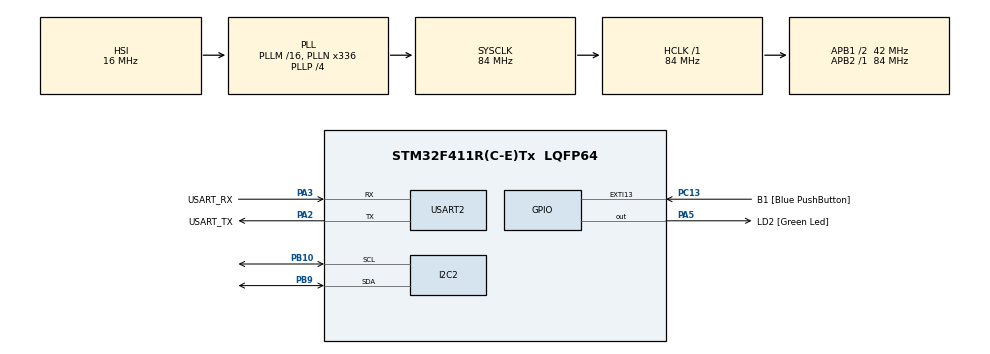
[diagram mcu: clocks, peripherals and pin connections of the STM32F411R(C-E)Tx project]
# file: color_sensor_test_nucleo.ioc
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Mcu.Family=STM32F4
Mcu.Name=STM32F411R(C-E)Tx
Mcu.Package=LQFP64
NVIC.PriorityGroup=NVIC_PRIORITYGROUP_0
PA13.GPIO_Label=TMS
PA13.Mode=Serial_Wire
PA13.Signal=SYS_JTMS-SWDIO
PA14.GPIO_Label=TCK
PA14.Mode=Serial_Wire
PA14.Signal=SYS_JTCK-SWCLK
PA2.GPIO_Label=USART_TX
PA2.Mode=Asynchronous
PA2.Signal=USART2_TX
PA3.GPIO_Label=USART_RX
PA3.Mode=Asynchronous
PA3.Signal=USART2_RX
PA5.GPIO_Label=LD2 [Green Led]
PA5.Signal=GPIO_Output
PB10.GPIO_Pu=GPIO_PULLUP
PB10.Mode=I2C
PB10.Signal=I2C2_SCL
PB3.GPIO_Label=SWO
PB3.Signal=SYS_JTDO-SWO
PB9.GPIO_Pu=GPIO_PULLUP
PB9.Mode=I2C
PB9.Signal=I2C2_SDA
PC13-ANTI_TAMP.GPIO_Label=B1 [Blue PushButton]
PC13-ANTI_TAMP.GPIO_ModeDefaultEXTI=GPIO_MODE_IT_FALLING
PC13-ANTI_TAMP.Signal=GPXTI13
PC14-OSC32_IN.Mode=LSE-External-Oscillator
PC14-OSC32_IN.Signal=RCC_OSC32_IN
PC15-OSC32_OUT.Mode=LSE-External-Oscillator
PC15-OSC32_OUT.Signal=RCC_OSC32_OUT
PH0\ -\ OSC_IN.Mode=HSE-External-Clock-Source
PH0\ -\ OSC_IN.Signal=RCC_OSC_IN
PH1\ -\ OSC_OUT.Mode=HSE-External-Clock-Source
PH1\ -\ OSC_OUT.Signal=RCC_OSC_OUT
ProjectManager.HeapSize=0x200
ProjectManager.StackSize=0x400
ProjectManager.TargetToolchain=STM32CubeIDE
RCC.48MHZClocksFreq_Value=84000000
RCC.AHBFreq_Value=84000000
RCC.APB1CLKDivider=RCC_HCLK_DIV2
RCC.APB1Freq_Value=42000000
RCC.APB1TimFreq_Value=84000000
RCC.APB2Freq_Value=84000000
RCC.APB2TimFreq_Value=84000000
RCC.CortexFreq_Value=84000000
RCC.FLatency-AdvancedSettings=FLASH_LATENCY_2
RCC.HCLKFreq_Value=84000000
RCC.HSE_VALUE=8000000
RCC.HSI_VALUE=16000000
RCC.PLLN=336
RCC.PLLP=RCC_PLLP_DIV4
RCC.SYSCLKFreq_VALUE=84000000
RCC.SYSCLKSource=RCC_SYSCLKSOURCE_PLLCLK
RCC.VCOOutputFreq_Value=336000000
USART2.VirtualMode=VM_ASYNC
board=NUCLEO-F411RE

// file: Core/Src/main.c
/* USER CODE BEGIN Header */
/**
  ******************************************************************************
  * @file           : main.c
  * @brief          : Main program body
  ******************************************************************************
  * @attention
  *
  * Copyright (c) 2022 STMicroelectronics.
  * All rights reserved.
  *
  * This software is licensed under terms that can be found in the LICENSE file
  * in the root directory of this software component.
  * If no LICENSE file comes with this software, it is provided AS-IS.
  *
  ******************************************************************************
  */
/* USER CODE END Header */
#include "main.h"

/* USER CODE BEGIN Includes */
#include <stdio.h>
#include "TCS34725.h"
#include <math.h>
/* USER CODE END Includes */

I2C_HandleTypeDef hi2c2;

UART_HandleTypeDef huart2;

void SystemClock_Config(void);
static void MX_GPIO_Init(void);
static void MX_USART2_UART_Init(void);
static void MX_I2C2_Init(void);

/* USER CODE BEGIN 0 */
int __io_putchar(int ch)
{
  if (ch == '\n') {
    __io_putchar('\r');
  }

  HAL_UART_Transmit(&huart2, (uint8_t*)&ch, 1, HAL_MAX_DELAY);

  return 1;
}

/* USER CODE END 0 */

int main(void)
{

  /* MCU Configuration--------------------------------------------------------*/

  /* Reset of all peripherals, Initializes the Flash interface and the Systick. */
  HAL_Init();

  /* Configure the system clock */
  SystemClock_Config();

  /* Initialize all configured peripherals */
  MX_GPIO_Init();
  MX_USART2_UART_Init();
  MX_I2C2_Init();
  /* USER CODE BEGIN 2 */
  while(HAL_I2C_IsDeviceReady(&hi2c2, 0x29 << 1, 10, HAL_MAX_DELAY)){
	  HAL_Delay(5);
  }

  // READ ID
  uint8_t id = 0;
  HAL_StatusTypeDef status = readReg(TCS34725_ID, &id);

  printf("Status: %d\n%d\n", status, id);
  // SET INTEGRETION TIME
  uint8_t data = TCS34725_INTEGRATIONTIME_50MS;
  writeReg(TCS34725_ATIME, data);

  // GAIN
  data = TCS34725_GAIN_4X;
  writeReg(TCS34725_CONTROL, data);

  // ENABLE
  data = TCS34725_ENABLE_PON;
  writeReg(TCS34725_ENABLE, data);
  data = TCS34725_ENABLE_PON | TCS34725_ENABLE_AEN;
  HAL_Delay(5);
  writeReg(TCS34725_ENABLE, data);

  //GAMMA TABLE
  uint8_t gammatable[256];
  for (int i=0; i<256; i++) {
      float x = i;
      x /= 255;
      x = pow(x, 0.5);
      x *= 255;
      gammatable[i] = x;
    }
  /* USER CODE END 2 */

  /* Infinite loop */
  while (1)
  {

    /* USER CODE BEGIN 3 */
	  uint16_t c, red, green, blue;
	  unlock();
	  readRegword(TCS34725_CDATAL, &c);
	  readRegword(TCS34725_RDATAL, &red);
	  readRegword(TCS34725_GDATAL, &green);
	  readRegword(TCS34725_BDATAL, &blue);
	  lock();

	  uint32_t sum = c;
		float r, g, b;
		r = red; r /= sum;
		g = green; g /= sum;
		b = blue; b /= sum;
		r *= 256; g *= 256; b *= 256;
	  printf("C: %d\t RGB = (%d, %d, %d)\n", c, gammatable[(int)r], gammatable[(int)g], gammatable[(int)b]);
	  HAL_Delay(3000);
  }
  /* USER CODE END 3 */
}

void SystemClock_Config(void)
{
  RCC_OscInitTypeDef RCC_OscInitStruct = {0};
  RCC_ClkInitTypeDef RCC_ClkInitStruct = {0};

  /** Configure the main internal regulator output voltage
  */
  __HAL_RCC_PWR_CLK_ENABLE();
  __HAL_PWR_VOLTAGESCALING_CONFIG(PWR_REGULATOR_VOLTAGE_SCALE1);
  /** Initializes the RCC Oscillators according to the specified parameters
  * in the RCC_OscInitTypeDef structure.
  */
  RCC_OscInitStruct.OscillatorType = RCC_OSCILLATORTYPE_HSI;
  RCC_OscInitStruct.HSIState = RCC_HSI_ON;
  RCC_OscInitStruct.HSICalibrationValue = RCC_HSICALIBRATION_DEFAULT;
  RCC_OscInitStruct.PLL.PLLState = RCC_PLL_ON;
  RCC_OscInitStruct.PLL.PLLSource = RCC_PLLSOURCE_HSI;
  RCC_OscInitStruct.PLL.PLLM = 16;
  RCC_OscInitStruct.PLL.PLLN = 336;
  RCC_OscInitStruct.PLL.PLLP = RCC_PLLP_DIV4;
  RCC_OscInitStruct.PLL.PLLQ = 4;
  if (HAL_RCC_OscConfig(&RCC_OscInitStruct) != HAL_OK)
  {
    Error_Handler();
  }
  /** Initializes the CPU, AHB and APB buses clocks
  */
  RCC_ClkInitStruct.ClockType = RCC_CLOCKTYPE_HCLK|RCC_CLOCKTYPE_SYSCLK
                              |RCC_CLOCKTYPE_PCLK1|RCC_CLOCKTYPE_PCLK2;
  RCC_ClkInitStruct.SYSCLKSource = RCC_SYSCLKSOURCE_PLLCLK;
  RCC_ClkInitStruct.AHBCLKDivider = RCC_SYSCLK_DIV1;
  RCC_ClkInitStruct.APB1CLKDivider = RCC_HCLK_DIV2;
  RCC_ClkInitStruct.APB2CLKDivider = RCC_HCLK_DIV1;

  if (HAL_RCC_ClockConfig(&RCC_ClkInitStruct, FLASH_LATENCY_2) != HAL_OK)
  {
    Error_Handler();
  }
}

static void MX_I2C2_Init(void)
{

  hi2c2.Instance = I2C2;
  hi2c2.Init.ClockSpeed = 100000;
  hi2c2.Init.DutyCycle = I2C_DUTYCYCLE_2;
  hi2c2.Init.OwnAddress1 = 0;
  hi2c2.Init.AddressingMode = I2C_ADDRESSINGMODE_7BIT;
  hi2c2.Init.DualAddressMode = I2C_DUALADDRESS_DISABLE;
  hi2c2.Init.OwnAddress2 = 0;
  hi2c2.Init.GeneralCallMode = I2C_GENERALCALL_DISABLE;
  hi2c2.Init.NoStretchMode = I2C_NOSTRETCH_DISABLE;
  if (HAL_I2C_Init(&hi2c2) != HAL_OK)
  {
    Error_Handler();
  }

}

static void MX_USART2_UART_Init(void)
{

  huart2.Instance = USART2;
  huart2.Init.BaudRate = 115200;
  huart2.Init.WordLength = UART_WORDLENGTH_8B;
  huart2.Init.StopBits = UART_STOPBITS_1;
  huart2.Init.Parity = UART_PARITY_NONE;
  huart2.Init.Mode = UART_MODE_TX_RX;
  huart2.Init.HwFlowCtl = UART_HWCONTROL_NONE;
  huart2.Init.OverSampling = UART_OVERSAMPLING_16;
  if (HAL_UART_Init(&huart2) != HAL_OK)
  {
    Error_Handler();
  }

}

static void MX_GPIO_Init(void)
{
  GPIO_InitTypeDef GPIO_InitStruct = {0};

  /* GPIO Ports Clock Enable */
  __HAL_RCC_GPIOC_CLK_ENABLE();
  __HAL_RCC_GPIOH_CLK_ENABLE();
  __HAL_RCC_GPIOA_CLK_ENABLE();
  __HAL_RCC_GPIOB_CLK_ENABLE();

  /*Configure GPIO pin Output Level */
  HAL_GPIO_WritePin(LD2_GPIO_Port, LD2_Pin, GPIO_PIN_RESET);

  /*Configure GPIO pin : B1_Pin */
  GPIO_InitStruct.Pin = B1_Pin;
  GPIO_InitStruct.Mode = GPIO_MODE_IT_FALLING;
  GPIO_InitStruct.Pull = GPIO_NOPULL;
  HAL_GPIO_Init(B1_GPIO_Port, &GPIO_InitStruct);

  /*Configure GPIO pin : LD2_Pin */
  GPIO_InitStruct.Pin = LD2_Pin;
  GPIO_InitStruct.Mode = GPIO_MODE_OUTPUT_PP;
  GPIO_InitStruct.Pull = GPIO_NOPULL;
  GPIO_InitStruct.Speed = GPIO_SPEED_FREQ_LOW;
  HAL_GPIO_Init(LD2_GPIO_Port, &GPIO_InitStruct);

}

void Error_Handler(void)
{
  __disable_irq();
  while (1)
  {
  }
}
